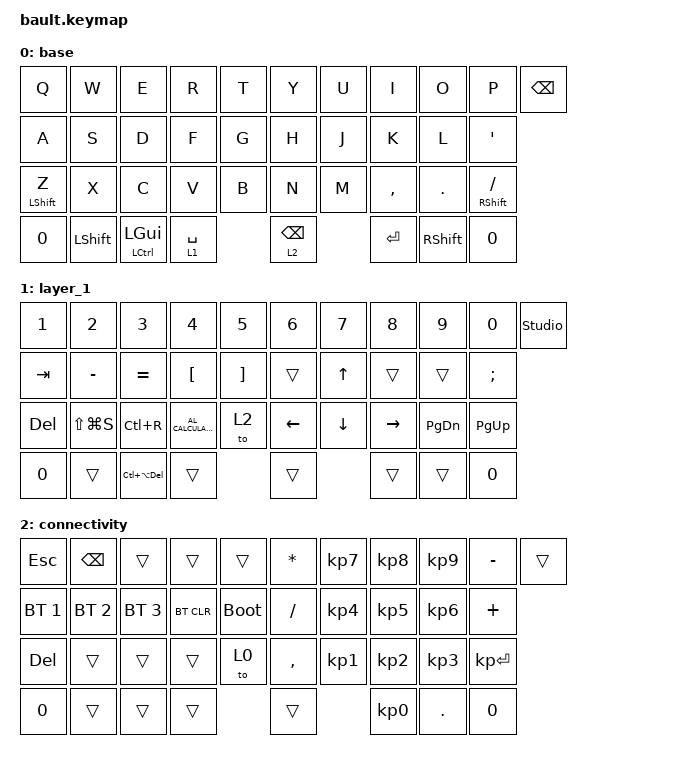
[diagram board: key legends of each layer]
#include <behaviors.dtsi>
#include <dt-bindings/zmk/bt.h>
#include <dt-bindings/zmk/keys.h>

/ {
    behaviors {
        hm: homerow_mods {
            compatible = "zmk,behavior-hold-tap";
            display-name = "Homerow Mods";
            bindings = <&kp>, <&kp>;

            #binding-cells = <2>;
            tapping-term-ms = <200>;
            quick-tap-ms = <180>;
            require-prior-idle-ms = <0>;
            flavor = "tap-preferred";
        };
    };

    combos {
        compatible = "zmk,combos";

        Esc {
            bindings = <&kp ESCAPE>;
            key-positions = <0 1>;
        };
    };

    keymap {
        compatible = "zmk,keymap";

        base {
            bindings = <
&kp Q        &kp W           &kp E                  &kp R        &kp T  &kp Y            &kp U  &kp I      &kp O       &kp P            &kp BACKSPACE
&kp A        &kp S           &kp D                  &kp F        &kp G  &kp H            &kp J  &kp K      &kp L       &kp SQT
&mt LSHFT Z  &kp X           &kp C                  &kp V        &kp B  &kp N            &kp M  &kp COMMA  &kp PERIOD  &mt RSHFT SLASH
&kp N0       &kp LEFT_SHIFT  &mt LEFT_CONTROL LGUI  &lt 1 SPACE         &lt 2 BACKSPACE         &kp ENTER  &kp RSHFT   &kp N0
            >;
        };

        layer_1 {
            bindings = <
&kp NUMBER_1  &kp N2         &kp N3              &kp N4               &kp N5             &kp N6          &kp N7          &kp N8     &kp N9         &kp N0         &studio_unlock
&kp TAB       &kp MINUS      &kp EQUAL           &kp LEFT_BRACKET     &kp RIGHT_BRACKET  &trans          &kp UP_ARROW    &trans     &trans         &kp SEMICOLON
&kp DELETE    &kp LS(LG(S))  &kp LC(R)           &kp C_AL_CALCULATOR  &to 2              &kp LEFT_ARROW  &kp DOWN_ARROW  &kp RIGHT  &kp PAGE_DOWN  &kp PAGE_UP
&kp N0        &trans         &kp LC(LA(DELETE))  &trans                                  &trans                          &trans     &trans         &kp N0
            >;
        };

        connectivity {
            bindings = <
&kp ESC       &kp BACKSPACE  &trans        &trans      &trans       &kp ASTERISK  &kp KP_NUMBER_7  &kp KP_NUMBER_8  &kp KP_NUMBER_9  &kp MINUS     &trans
&bt BT_SEL 1  &bt BT_SEL 2   &bt BT_SEL 3  &bt BT_CLR  &bootloader  &kp SLASH     &kp KP_NUMBER_4  &kp KP_NUMBER_5  &kp KP_NUMBER_6  &kp PLUS
&kp DELETE    &trans         &trans        &trans      &to 0        &kp COMMA     &kp KP_NUMBER_1  &kp KP_NUMBER_2  &kp KP_NUMBER_3  &kp KP_ENTER
&kp N0        &trans         &trans        &trans                   &trans                         &kp KP_NUMBER_0  &kp PERIOD       &kp N0
            >;
        };
    };
};
